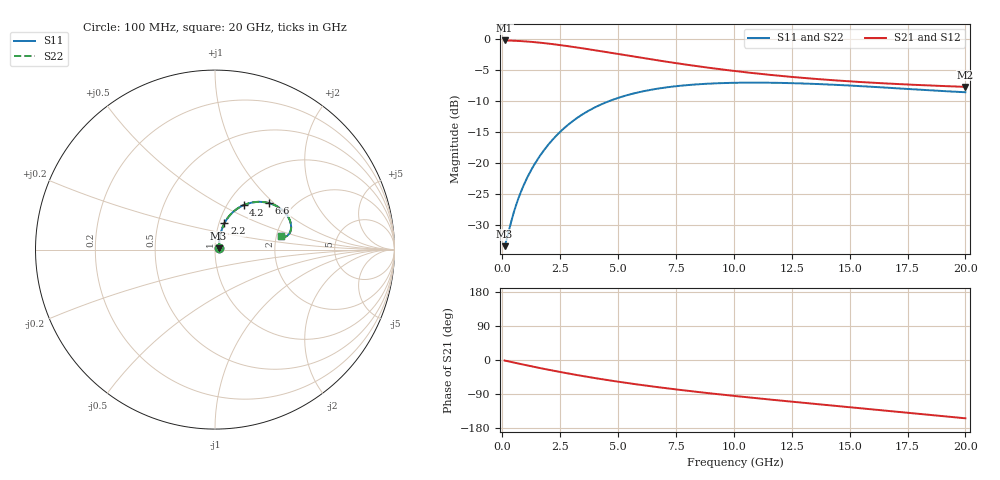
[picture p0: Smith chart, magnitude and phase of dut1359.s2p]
! Touchstone file exported from HFSS 2024.1.0
!  File:  C:/UserFiles/LocalFiles/RDL_TSV_Batchsim/temp_RDL_TSV_1359_1780395940.aedt
!  Generated:  06:40:14 PM Jun  2, 2026
!  Design:  RDL_TSV
!  Project:  temp_RDL_TSV_1359_1780395940
!  Setup:  Setup1
!  Solution:  Sweep
! Variables:
!  dtsv = 7.09um
!  hbump = 3um
!  htsv = 60.65um
!  ldown = 431.22um
!  lrdl = 223.75um
!  p = 40
!  p1 = 52um
!  rhole = 10um
!  subl = 2188.66um
!  t = 450um
!  tdown = 3.24um
!  trdl = 3um
!  viad = 10um
!  wdown = 14.04um
!  wrdl = 10.99um
!  xbump = 18um
# GHz S MA R 50.000000
! Terminal data exported
! Port[1] = TM1_1_T1
! Port[2] = TM1_4_T1
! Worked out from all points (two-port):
!   200 points, 100 MHz to 20 GHz, reference 50 ohm
!   highest |S21| = -0.18 dB at 100 MHz (marker M1); lowest = -7.7 dB at 20 GHz (marker M2)
!   |S21| within 3 dB of the highest: start of sweep to 6.348 GHz
!   lowest |S11| = -33.4 dB at 100 MHz (marker M3), VSWR 1.04, Z = 52.1 + j0.715 ohm
!   |S11| at or under -10 dB: start of sweep to 4.597 GHz
!   |S22| runs from -33.4 to -7.0 dB; largest |S21 - S12| = 1.9e-14
!   S11 on the Smith chart (normalised r, x): 100 MHz: 1.04, +0.01; 2.2 GHz: 1.06, +0.32; 4.2 GHz: 1.19, +0.64; 6.6 GHz: 1.51, +0.93; 20 GHz: 2.11, +0.37
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0.1  0.02137 18.7  0.9796 -1.4  0.9796 -1.4  0.02137 18.7
! Gamma 0 0 0 0
! Port Impedance 50 0 50 0
0.2  0.02471 33.6  0.9789 -2.7  0.9789 -2.7  0.02471 33.6
0.4  0.03459 51.1  0.9764 -5.4  0.9764 -5.4  0.03458 51.1
0.6  0.04612 60.0  0.9728 -8.1  0.9728 -8.1  0.04612 60.0
0.8  0.05842 65.0  0.9682 -10.7  0.9682 -10.7  0.05842 65.0
1  0.0713 68.0  0.9627 -13.3  0.9627 -13.3  0.0713 68.0
1.2  0.08469 69.9  0.9563 -15.9  0.9563 -15.9  0.08469 69.9
1.5  0.1056 71.2  0.9452 -19.7  0.9452 -19.7  0.1056 71.2
1.8  0.1273 71.3  0.9326 -23.4  0.9326 -23.4  0.1273 71.3
2.2  0.1569 70.3  0.9139 -28.2  0.9139 -28.2  0.1569 70.3
2.8  0.2012 67.2  0.8831 -35.0  0.8831 -35.0  0.2012 67.2
3.5  0.2503 62.4  0.8447 -42.6  0.8447 -42.6  0.2503 62.5
4.2  0.2941 57.2  0.8056 -49.7  0.8056 -49.7  0.2942 57.3
5.3  0.3502 49.2  0.7459 -59.9  0.7459 -59.9  0.3504 49.3
6.6  0.3968 40.7  0.6818 -70.7  0.6818 -70.7  0.3971 40.8
6.8  0.4023 39.6  0.6727 -72.3  0.6727 -72.3  0.4026 39.6
8.4  0.433 31.1  0.6078 -84.0  0.6078 -84.0  0.4334 31.2
10.1  0.4461 24.1  0.5534 -95.3  0.5534 -95.3  0.4467 24.1
11.7  0.4461 18.9  0.5137 -105.2  0.5137 -105.2  0.4467 19.0
13.4  0.4373 14.8  0.4813 -115.3  0.4813 -115.3  0.438 14.9
16.7  0.4062 10.7  0.4391 -134.4  0.4391 -134.4  0.407 10.7
20  0.3741 11.7  0.4134 -153.8  0.4134 -153.8  0.375 11.6
